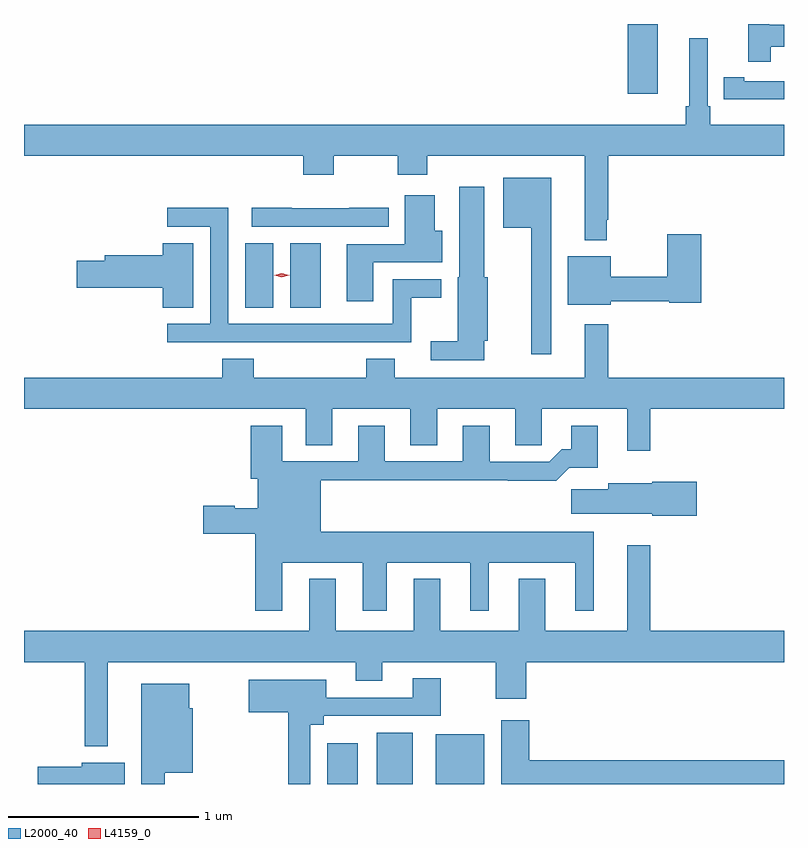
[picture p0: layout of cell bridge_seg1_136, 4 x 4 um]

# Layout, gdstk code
import gdstk
lib = gdstk.Library(unit=1e-6, precision=1e-09)
def R(c, l, rs):  # rectangles x0, y0, x1, y1
    for r in rs: c.add(gdstk.rectangle(r[:2], r[2:], *l))
def P(c, l, *ps):  # polygons
    for p in ps: c.add(gdstk.Polygon(p, *l))
L2000_40 = (2000, 40)
L4159_0 = (4159, 0)

bridge_seg1_136 = lib.new_cell('bridge_seg1_136')
R(bridge_seg1_136, L2000_40, [(493.661,553.754,493.822,553.969), (493.922,553.754,494.11,554.023), (494.231,553.754,494.488,554.017), (493.229,556.261,493.378,556.601), (493.466,556.261,493.627,556.601), (495.242,557.388,495.4,557.754)])
P(bridge_seg1_136, L2000_40, [(495.995,557.634),(496.065,557.634),(496.065,557.75),(495.988,557.75),(495.988,557.754),(495.878,557.754),(495.878,557.556),(495.995,557.556)],
  [(492.065,557.06),(493.535,557.06),(493.535,556.961),(493.695,556.961),(493.695,557.06),(494.032,557.06),(494.032,556.961),(494.187,556.961),(494.187,557.06),(495.017,557.06),(495.017,556.616),(495.131,556.616),(495.131,556.723),(495.139,556.723),(495.139,557.06),(496.065,557.06),(496.065,557.224),(495.677,557.224),(495.677,557.32),(495.663,557.32),(495.663,557.68),(495.566,557.68),(495.566,557.32),(495.547,557.32),(495.547,557.224),(492.065,557.224)],
  [(496.065,557.454),(495.856,557.454),(495.856,557.474),(495.748,557.474),(495.748,557.358),(495.856,557.358),(495.856,557.357),(496.065,557.357)],
  [(494.839,556.945),(494.588,556.945),(494.588,556.682),(494.735,556.682),(494.735,556.017),(494.839,556.017)],
  [(494.488,556.086),(494.506,556.086),(494.506,556.422),(494.488,556.422),(494.488,556.897),(494.357,556.897),(494.357,556.422),(494.348,556.422),(494.348,556.083),(494.205,556.083),(494.205,555.984),(494.488,555.984)],
  [(493.903,556.5),(494.266,556.5),(494.266,556.666),(494.227,556.666),(494.227,556.852),(494.069,556.852),(494.069,556.596),(493.763,556.596),(493.763,556.296),(493.903,556.296)],
  [(493.984,556.787),(493.777,556.787),(493.777,556.783),(493.475,556.783),(493.475,556.787),(493.263,556.787),(493.263,556.686),(493.984,556.686)],
  [(493.037,556.08),(493.357,556.08),(493.357,556.079),(493.781,556.079),(493.781,556.08),(494.103,556.08),(494.103,556.312),(494.26,556.312),(494.26,556.41),(494.007,556.41),(494.007,556.176),(493.14,556.176),(493.14,556.787),(492.819,556.787),(492.819,556.686),(493.044,556.686),(493.044,556.176),(492.819,556.176),(492.819,556.079),(493.037,556.079)],
  [(495.154,556.296),(495.462,556.296),(495.462,556.288),(495.629,556.288),(495.629,556.648),(495.451,556.648),(495.451,556.424),(495.154,556.424),(495.154,556.531),(494.927,556.531),(494.927,556.277),(495.154,556.277)],
  [(492.955,556.601),(492.794,556.601),(492.794,556.538),(492.491,556.538),(492.491,556.508),(492.342,556.508),(492.342,556.366),(492.794,556.366),(492.794,556.261),(492.955,556.261)],
  [(495.361,555.728),(496.065,555.728),(496.065,555.892),(495.139,555.892),(495.139,556.174),(495.017,556.174),(495.017,555.892),(494.017,555.892),(494.017,555.991),(493.865,555.991),(493.865,555.892),(493.274,555.892),(493.274,555.991),(493.109,555.991),(493.109,555.892),(492.065,555.892),(492.065,555.728),(493.547,555.728),(493.547,555.538),(493.687,555.538),(493.687,555.728),(494.099,555.728),(494.099,555.538),(494.239,555.538),(494.239,555.728),(494.651,555.728),(494.651,555.538),(494.79,555.538),(494.79,555.728),(495.239,555.728),(495.239,555.507),(495.361,555.507)],
  [(493.423,554.918),(493.847,554.918),(493.847,554.667),(493.975,554.667),(493.975,554.918),(494.414,554.918),(494.414,554.667),(494.512,554.667),(494.512,554.918),(494.966,554.918),(494.966,554.667),(495.064,554.667),(495.064,555.082),(493.627,555.082),(493.627,555.352),(494.611,555.352),(494.611,555.35),(494.867,555.35),(494.936,555.419),(495.085,555.419),(495.085,555.64),(494.945,555.64),(494.945,555.517),(494.896,555.517),(494.829,555.45),(494.515,555.45),(494.515,555.64),(494.375,555.64),(494.375,555.453),(493.963,555.453),(493.963,555.64),(493.823,555.64),(493.823,555.453),(493.423,555.453),(493.423,555.64),(493.259,555.64),(493.259,555.36),(493.295,555.36),(493.295,555.205),(493.175,555.205),(493.175,555.218),(493.008,555.218),(493.008,555.071),(493.283,555.071),(493.283,554.667),(493.423,554.667)],
  [(495.607,555.345),(495.372,555.345),(495.372,555.337),(495.14,555.337),(495.14,555.305),(494.946,555.305),(494.946,555.176),(495.372,555.176),(495.372,555.167),(495.607,555.167)],
  [(492.505,554.396),(493.811,554.396),(493.811,554.297),(493.951,554.297),(493.951,554.396),(494.548,554.396),(494.548,554.202),(494.708,554.202),(494.708,554.396),(496.065,554.396),(496.065,554.56),(495.361,554.56),(495.361,555.01),(495.239,555.01),(495.239,554.56),(494.809,554.56),(494.809,554.833),(494.669,554.833),(494.669,554.56),(494.257,554.56),(494.257,554.833),(494.117,554.833),(494.117,554.56),(493.705,554.56),(493.705,554.833),(493.565,554.833),(493.565,554.56),(492.065,554.56),(492.065,554.396),(492.384,554.396),(492.384,553.952),(492.505,553.952)],
  [(493.572,554.066),(493.642,554.066),(493.642,554.112),(494.259,554.112),(494.259,554.311),(494.111,554.311),(494.111,554.208),(493.657,554.208),(493.657,554.302),(493.248,554.302),(493.248,554.132),(493.456,554.132),(493.456,553.754),(493.572,553.754)],
  [(492.805,553.814),(492.952,553.814),(492.952,554.154),(492.934,554.154),(492.934,554.281),(492.683,554.281),(492.683,553.754),(492.805,553.754)],
  [(496.065,553.88),(494.723,553.88),(494.723,554.089),(494.576,554.089),(494.576,553.754),(496.065,553.754)],
  [(492.595,553.867),(492.368,553.867),(492.368,553.844),(492.138,553.844),(492.138,553.754),(492.595,553.754)])
P(bridge_seg1_136, L4159_0, [(493.421,556.421),(493.381,556.431),(493.38,556.431),(493.381,556.431),(493.421,556.441),(493.462,556.431),(493.462,556.431),(493.462,556.431)])

lib.write_gds('bridge_seg1_136.gds')
